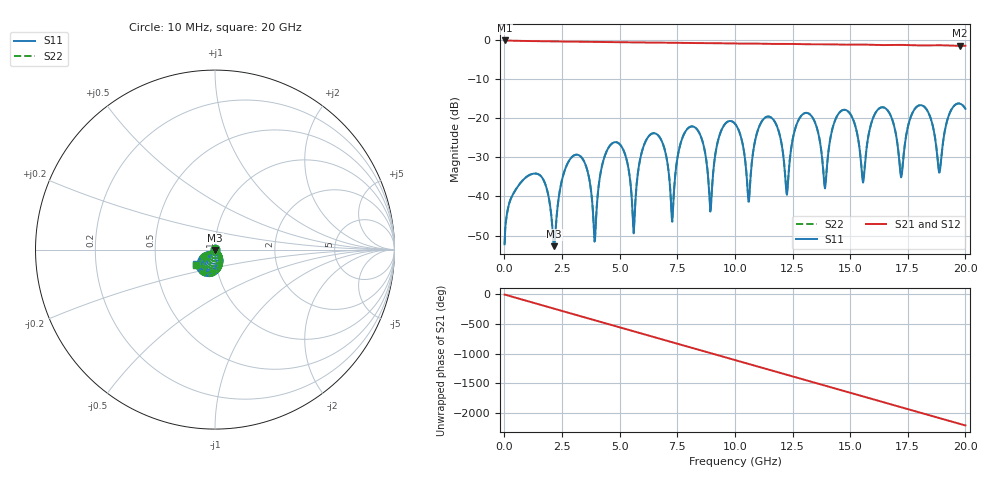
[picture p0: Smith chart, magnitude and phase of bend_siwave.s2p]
! Solver applicability map - 40 x 16 mm symmetric stripline
! Case: bend_siwave
! Sweep: 10 MHz - 20 GHz, 25 MHz step, 4 cores
# GHz S MA R 50.000000
! Terminal data exported
! Port[1] = U1.PAD1.SIG
! Port[2] = U2.PAD1.SIG
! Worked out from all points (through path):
!   801 points, 10 MHz to 20 GHz, reference 50 ohm
!   highest |S21| = -0.02 dB at 10 MHz (marker M1); lowest = -1.4 dB at 19.76 GHz (marker M2)
!   group delay of S21, straight-line fit = 308 ps
!   lowest |S11| = -52.7 dB at 2.16 GHz (marker M3), VSWR 1.00, Z = 50.1 - j0.202 ohm
!   |S11| at or under -10 dB: start of sweep to end of sweep
!   |S22| runs from -52.2 to -16.2 dB; largest |S21 - S12| = 0
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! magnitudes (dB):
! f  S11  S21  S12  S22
! 10 MHz  -52.2  0.0  0.0  -52.2
! 1.31 GHz  -34.1  -0.2  -0.2  -34.1
! 2.16 GHz  -52.7  -0.3  -0.3  -52.1
! 3.36 GHz  -30.1  -0.4  -0.4  -30.1
! 3.91 GHz  -51.6  -0.4  -0.4  -50.6
! 5.01 GHz  -26.6  -0.5  -0.5  -26.6
! 5.61 GHz  -49.5  -0.5  -0.5  -48.2
! 6.685 GHz  -24.4  -0.6  -0.6  -24.4
! 7.285 GHz  -46.5  -0.6  -0.6  -45.4
! 7.91 GHz  -22.9  -0.7  -0.7  -22.9
! 8.935 GHz  -43.9  -0.7  -0.7  -42.9
! 10.01 GHz  -21.4  -0.8  -0.8  -21.4
! 10.61 GHz  -41.3  -0.8  -0.8  -40.5
! 11.26 GHz  -20.1  -0.9  -0.9  -20.0
! 12.26 GHz  -39.6  -0.9  -0.9  -38.7
! 13.36 GHz  -19.7  -1.0  -1.0  -19.7
! 13.91 GHz  -37.9  -1.0  -1.0  -37.1
! 14.56 GHz  -18.3  -1.1  -1.1  -18.3
! 16.68 GHz  -18.4  -1.2  -1.2  -18.4
! 18.86 GHz  -33.9  -1.2  -1.2  -33.3
! 19.76 GHz  -16.2  -1.4  -1.4  -16.2
! 20 GHz  -17.5  -1.4  -1.4  -17.5
